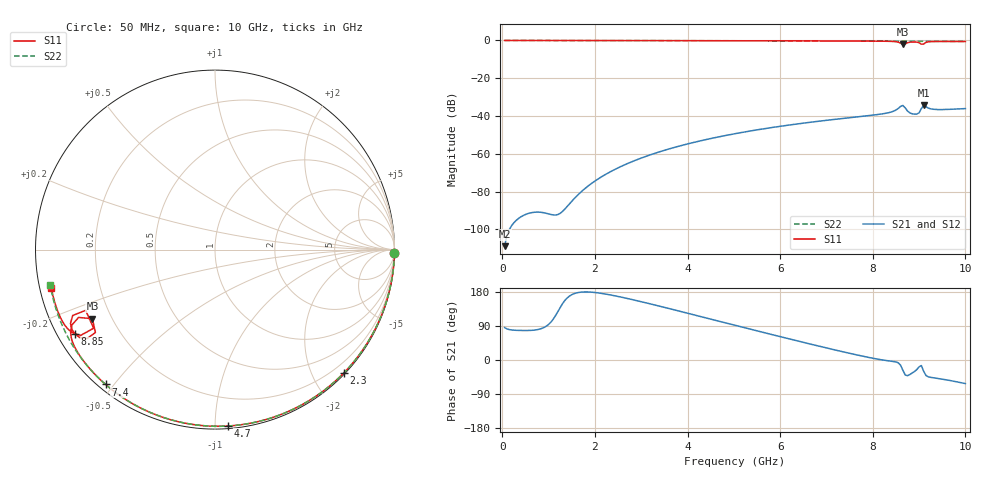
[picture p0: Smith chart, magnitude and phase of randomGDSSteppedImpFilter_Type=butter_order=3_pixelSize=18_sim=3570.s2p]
! freq	dB(S11)	phase(S11)	dB(S12)	phase(S12)
!  dB(S21)	phase(S21)	dB(S22)	phase(S22)
!S-par simulation data
#  GHz  S  DB  R 50
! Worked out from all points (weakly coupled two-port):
!   200 points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, 50 MHz to 10 GHz, reference 50 ohm
!   highest |S21| = -34.35 dB at 9.1 GHz (marker M1); lowest = -108.9 dB at 50 MHz (marker M2)
!   lowest |S11| = -2.1 dB at 8.65 GHz (marker M3), VSWR 8.26, Z = 6.47 - j12.9 ohm
!   |S11| at or under -10 dB: nowhere
!   |S22| runs from -0.6 to 0.0 dB; largest |S21 - S12| = 0
!   S11 on the Smith chart (normalised r, x): 50 MHz: open; 2.3 GHz: 0.02, -2.49; 4.7 GHz: 0.02, -1.07; 7.4 GHz: 0.02, -0.48; 8.85 GHz: 0.05, -0.28; 10 GHz: 0.03, -0.12
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0.05  -0.00 -1.0  -108.85 85.5  -108.85 85.5  -0.00 -1.0
0.85  -0.02 -16.5  -90.98 83.2  -90.98 83.2  -0.02 -16.3
1.7  -0.04 -32.7  -80.17 179.1  -80.17 179.1  -0.04 -32.3
1.75  -0.04 -33.6  -79.08 179.5  -79.08 179.5  -0.04 -33.3
2.3  -0.06 -43.8  -69.92 172.5  -69.92 172.5  -0.06 -43.4
2.8  -0.07 -52.9  -64.14 159.6  -64.14 159.6  -0.07 -52.4
3.4  -0.08 -63.6  -58.88 141.9  -58.88 141.9  -0.08 -63.0
4.7  -0.13 -85.9  -50.88 101.7  -50.88 101.7  -0.13 -85.0
5.05  -0.14 -91.6  -49.22 90.8  -49.22 90.8  -0.14 -90.8
6.7  -0.23 -118.0  -43.14 40.6  -43.14 40.6  -0.23 -116.8
7.4  -0.28 -129.1  -41.14 20.4  -41.14 20.4  -0.28 -127.6
8.35  -0.45 -145.9  -38.18 -2.4  -38.18 -2.4  -0.36 -142.1
8.55  -0.91 -152.2  -35.98 -7.4  -35.98 -7.4  -0.38 -145.2
8.65  -2.11 -150.6  -34.40 -27.0  -34.40 -27.0  -0.39 -146.7
8.75  -1.23 -145.2  -37.34 -41.4  -37.34 -41.4  -0.40 -148.3
8.85  -0.81 -148.9  -38.80 -34.5  -38.80 -34.5  -0.41 -149.8
9  -1.17 -155.2  -38.29 -18.1  -38.29 -18.1  -0.43 -152.1
9.05  -1.98 -154.8  -36.01 -14.7  -36.01 -14.7  -0.44 -152.9
9.1  -1.88 -147.1  -34.35 -30.1  -34.35 -30.1  -0.44 -153.7
9.15  -1.03 -147.4  -35.09 -41.0  -35.09 -41.0  -0.45 -154.5
9.3  -0.57 -153.2  -36.40 -46.7  -36.40 -46.7  -0.47 -156.8
10  -0.57 -166.8  -36.06 -62.3  -36.06 -62.3  -0.55 -168.0
